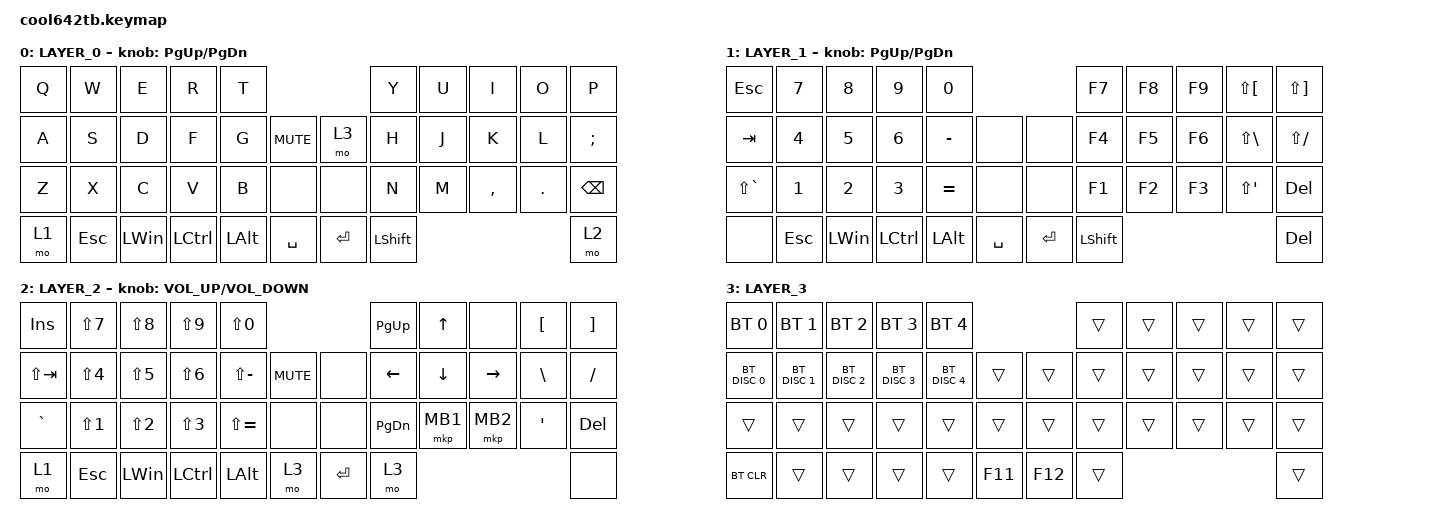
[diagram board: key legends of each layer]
#include <behaviors.dtsi>
#include <dt-bindings/zmk/bt.h>
#include <dt-bindings/zmk/keys.h>
#include <dt-bindings/zmk/pointing.h>

#define MOUSE 4
#define SCROLL 5
#define NUM 6

/ {
    combos { compatible = "zmk,combos"; };

    keymap {
        compatible = "zmk,keymap";

        LAYER_0 {
            bindings = <
&kp Q  &kp W    &kp E         &kp R      &kp T                                &kp Y           &kp U  &kp I      &kp O       &kp P
&kp A  &kp S    &kp D         &kp F      &kp G         &kp C_MUTE  &mo 3      &kp H           &kp J  &kp K      &kp L       &kp SEMI
&kp Z  &kp X    &kp C         &kp V      &kp B         &none       &none      &kp N           &kp M  &kp COMMA  &kp PERIOD  &kp BACKSPACE
&mo 1  &kp ESC  &kp LEFT_WIN  &kp LCTRL  &kp LEFT_ALT  &kp SPACE   &kp ENTER  &kp LEFT_SHIFT                                &mo 2
            >;

            sensor-bindings = <&inc_dec_kp PG_UP PAGE_DOWN>;
        };

        LAYER_1 {
            bindings = <
&kp ESCAPE     &kp NUMBER_7  &kp NUMBER_8  &kp NUMBER_9  &kp NUMBER_0                        &kp F7          &kp F8  &kp F9  &kp LS(LEFT_BRACKET)  &kp LS(RIGHT_BRACKET)
&kp TAB        &kp NUMBER_4  &kp N5        &kp NUMBER_6  &kp MINUS     &none      &none      &kp F4          &kp F5  &kp F6  &kp LS(BACKSLASH)     &kp LS(SLASH)
&kp LS(GRAVE)  &kp NUMBER_1  &kp NUMBER_2  &kp NUMBER_3  &kp EQUAL     &none      &none      &kp F1          &kp F2  &kp F3  &kp LS(APOS)          &kp DEL
&none          &kp ESCAPE    &kp LEFT_WIN  &kp LCTRL     &kp LEFT_ALT  &kp SPACE  &kp ENTER  &kp LEFT_SHIFT                                        &kp DELETE
            >;

            sensor-bindings = <&inc_dec_kp PG_UP PAGE_DOWN>;
        };

        LAYER_2 {
            bindings = <
&kp INSERT   &kp LS(NUMBER_7)  &kp LS(N8)        &kp LS(N9)        &kp LS(N0)                            &kp PAGE_UP    &kp UP_ARROW  &none      &kp LEFT_BRACKET  &kp RIGHT_BRACKET
&kp LS(TAB)  &kp LS(N4)        &kp LS(NUMBER_5)  &kp LS(NUMBER_6)  &kp LS(MINUS)  &kp C_MUTE  &none      &kp LEFT       &kp DOWN      &kp RIGHT  &kp BACKSLASH     &kp SLASH
&kp GRAVE    &kp LS(NUMBER_1)  &kp LS(NUMBER_2)  &kp LS(NUMBER_3)  &kp LS(EQUAL)  &none       &none      &kp PAGE_DOWN  &mkp MB1      &mkp MB2   &kp SINGLE_QUOTE  &kp DEL
&mo 1        &kp ESCAPE        &kp LEFT_WIN      &kp LCTRL         &kp LEFT_ALT   &mo 3       &kp ENTER  &mo 3                                                     &none
            >;

            sensor-bindings = <&inc_dec_kp C_VOLUME_UP C_VOLUME_DOWN>;
        };

        LAYER_3 {
            bindings = <
&bt BT_SEL 0   &bt BT_SEL 1   &bt BT_SEL 2   &bt BT_SEL 3   &bt BT_SEL 4                     &trans  &trans  &trans  &trans  &trans
&bt BT_DISC 0  &bt BT_DISC 1  &bt BT_DISC 2  &bt BT_DISC 3  &bt BT_DISC 4  &trans   &trans   &trans  &trans  &trans  &trans  &trans
&trans         &trans         &trans         &trans         &trans         &trans   &trans   &trans  &trans  &trans  &trans  &trans
&bt BT_CLR     &trans         &trans         &trans         &trans         &kp F11  &kp F12  &trans                          &trans
            >;
        };
    };
};
